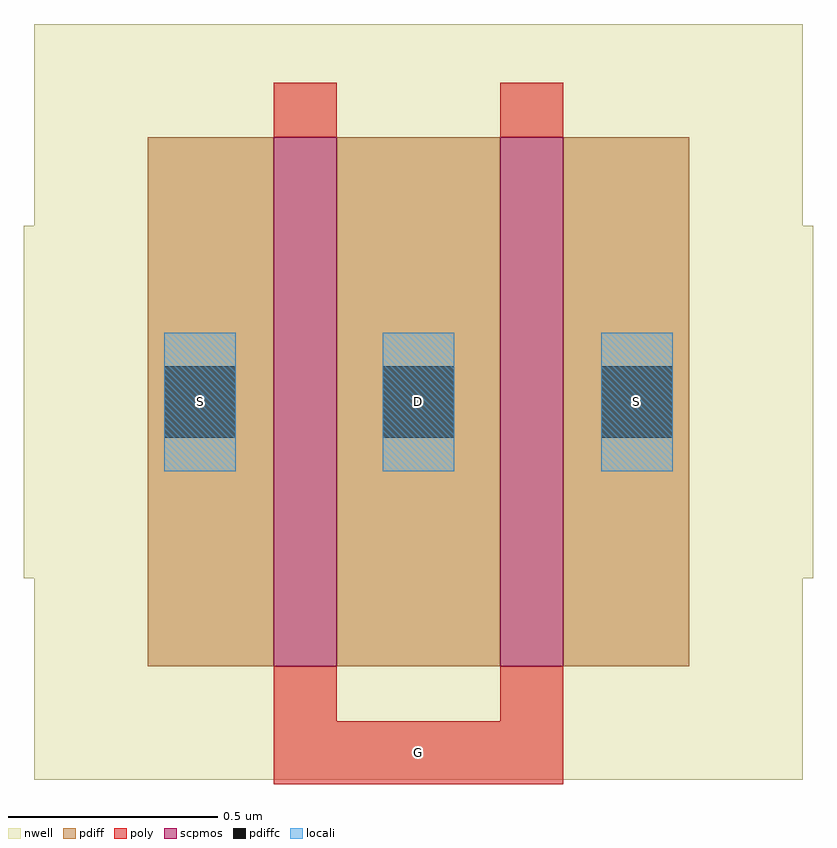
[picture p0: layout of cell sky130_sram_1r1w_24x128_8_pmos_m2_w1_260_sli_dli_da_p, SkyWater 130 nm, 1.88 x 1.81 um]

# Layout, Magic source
magic
tech sky130B
magscale 1 2
<< nwell >>
rect -54 -54 312 306
<< scpmos >>
rect 60 0 90 252
rect 168 0 198 252
<< pdiff >>
rect 0 0 60 252
rect 90 0 168 252
rect 198 0 258 252
<< poly >>
rect 60 252 90 278
rect 168 252 198 278
rect 60 -26 90 0
rect 168 -26 198 0
rect 60 -56 198 -26
<< locali >>
rect 8 93 42 159
rect 112 93 146 159
rect 216 93 250 159
use sky130_sram_1r1w_24x128_8_contact_11  sky130_sram_1r1w_24x128_8_contact_11_0
transform 1 0 208 0 1 93
box -59 -51 109 117
use sky130_sram_1r1w_24x128_8_contact_11  sky130_sram_1r1w_24x128_8_contact_11_1
transform 1 0 104 0 1 93
box -59 -51 109 117
use sky130_sram_1r1w_24x128_8_contact_11  sky130_sram_1r1w_24x128_8_contact_11_2
transform 1 0 0 0 1 93
box -59 -51 109 117
<< labels >>
rlabel poly s 129 -41 129 -41 4 G
port 1 nsew
rlabel locali s 233 126 233 126 4 S
port 2 nsew
rlabel locali s 25 126 25 126 4 S
port 2 nsew
rlabel locali s 129 126 129 126 4 D
port 3 nsew
<< properties >>
string FIXED_BBOX -54 -56 312 306
<< end >>

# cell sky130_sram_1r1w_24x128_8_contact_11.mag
magic
tech sky130B
magscale 1 2
<< nwell >>
rect -59 -51 109 117
<< pdiff >>
rect 0 50 50 62
rect 0 16 8 50
rect 42 16 50 50
rect 0 4 50 16
<< pdiffc >>
rect 8 16 42 50
<< locali >>
rect 8 50 42 66
rect 8 0 42 16
<< properties >>
string FIXED_BBOX -59 -51 109 117
<< end >>
